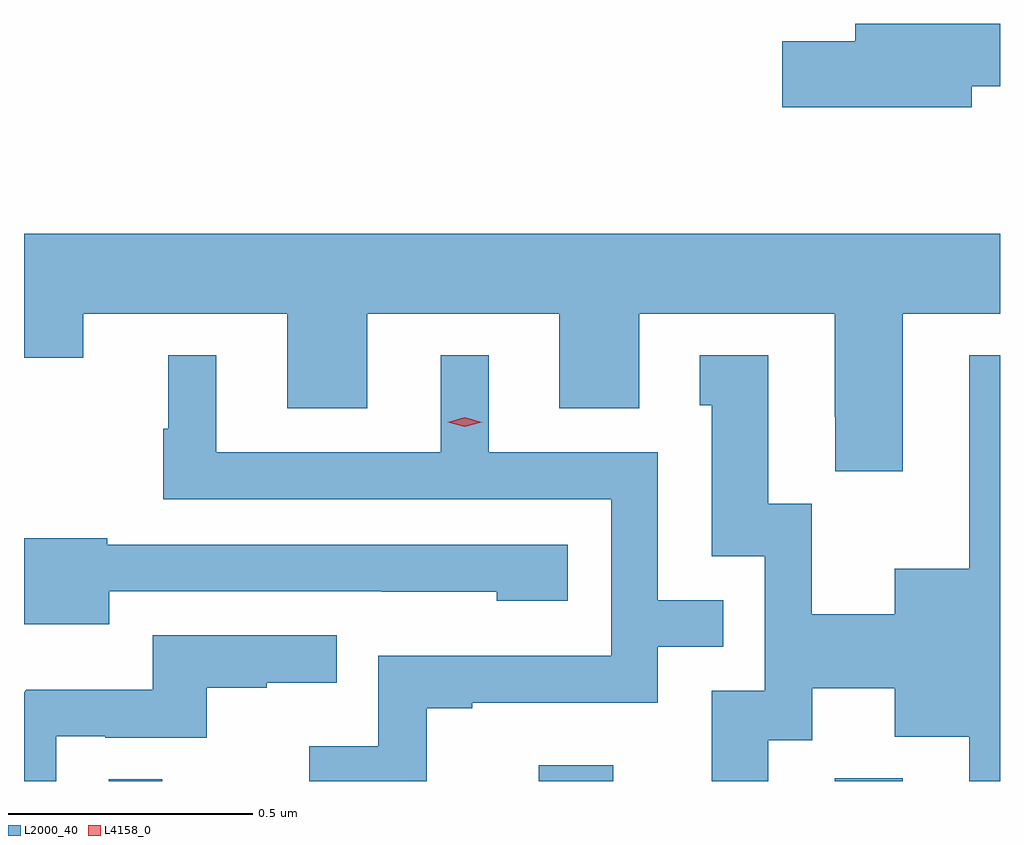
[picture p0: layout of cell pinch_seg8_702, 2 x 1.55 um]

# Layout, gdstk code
import gdstk
lib = gdstk.Library(unit=1e-6, precision=1e-09)
def R(c, l, rs):  # rectangles x0, y0, x1, y1
    for r in rs: c.add(gdstk.rectangle(r[:2], r[2:], *l))
def P(c, l, *ps):  # polygons
    for p in ps: c.add(gdstk.Polygon(p, *l))
L2000_40 = (2000, 40)
L4158_0 = (4158, 0)

pinch_seg8_702 = lib.new_cell('pinch_seg8_702')
R(pinch_seg8_702, L2000_40, [(337.116,1104.886,337.225,1104.89), (337.997,1104.886,338.149,1104.919), (338.603,1104.886,338.743,1104.892)])
P(pinch_seg8_702, L2000_40, [(338.884,1106.31),(338.942,1106.31),(338.942,1106.438),(338.645,1106.438),(338.645,1106.402),(338.496,1106.402),(338.496,1106.267),(338.884,1106.267)],
  [(338.743,1105.844),(338.942,1105.844),(338.942,1106.008),(336.942,1106.008),(336.942,1105.754),(337.063,1105.754),(337.063,1105.844),(337.481,1105.844),(337.481,1105.65),(337.645,1105.65),(337.645,1105.844),(338.039,1105.844),(338.039,1105.65),(338.203,1105.65),(338.203,1105.844),(338.603,1105.844),(338.603,1105.633),(338.604,1105.633),(338.604,1105.521),(338.743,1105.521)],
  [(338.467,1104.97),(338.557,1104.97),(338.557,1105.076),(338.726,1105.076),(338.726,1104.977),(338.879,1104.977),(338.879,1104.886),(338.942,1104.886),(338.942,1105.759),(338.879,1105.759),(338.879,1105.321),(338.726,1105.321),(338.726,1105.228),(338.556,1105.228),(338.556,1105.455),(338.467,1105.455),(338.467,1105.759),(338.327,1105.759),(338.327,1105.656),(338.351,1105.656),(338.351,1105.347),(338.46,1105.347),(338.46,1105.071),(338.351,1105.071),(338.351,1104.886),(338.467,1104.886)],
  [(337.767,1105.035),(337.861,1105.035),(337.861,1105.047),(338.241,1105.047),(338.241,1105.161),(338.375,1105.161),(338.375,1105.257),(338.241,1105.257),(338.241,1105.56),(337.894,1105.56),(337.894,1105.759),(337.796,1105.759),(337.796,1105.56),(337.336,1105.56),(337.336,1105.759),(337.238,1105.759),(337.238,1105.608),(337.227,1105.608),(337.227,1105.464),(338.145,1105.464),(338.145,1105.143),(337.668,1105.143),(337.668,1104.958),(337.527,1104.958),(337.527,1104.886),(337.767,1104.886)],
  [(337.117,1105.275),(337.675,1105.275),(337.675,1105.274),(337.911,1105.274),(337.911,1105.256),(338.056,1105.256),(338.056,1105.371),(337.113,1105.371),(337.113,1105.384),(336.942,1105.384),(336.942,1105.208),(337.117,1105.208)],
  [(337.008,1104.978),(337.108,1104.978),(337.108,1104.975),(337.316,1104.975),(337.316,1105.077),(337.439,1105.077),(337.439,1105.088),(337.583,1105.088),(337.583,1105.185),(337.206,1105.185),(337.206,1105.073),(336.947,1105.073),(336.942,1105.068),(336.942,1104.886),(337.008,1104.886)])
P(pinch_seg8_702, L4158_0, [(337.845,1105.612),(337.81,1105.622),(337.809,1105.622),(337.81,1105.622),(337.845,1105.632),(337.88,1105.622),(337.881,1105.622),(337.88,1105.622)])

lib.write_gds('pinch_seg8_702.gds')
